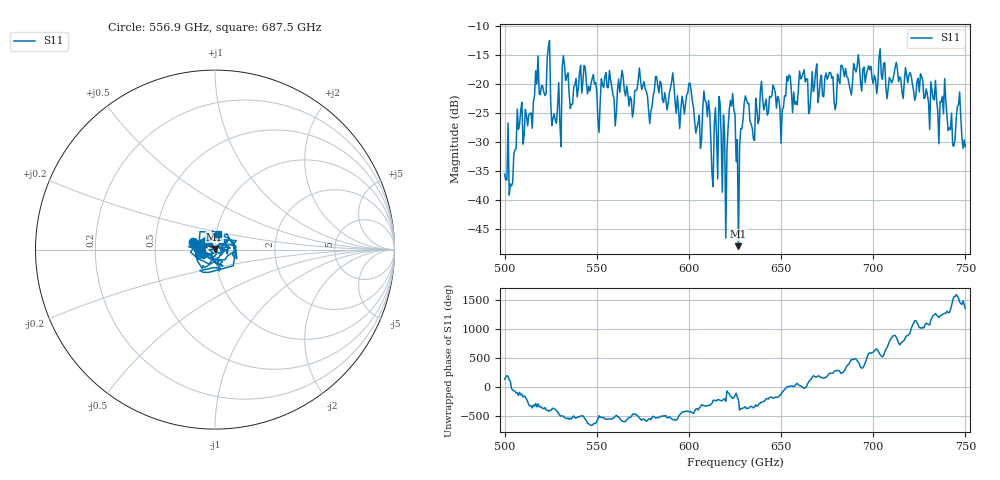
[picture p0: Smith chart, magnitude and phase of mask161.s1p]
!Created with skrf (http://scikit-rf.org).
# GHz S MA R 50.0
!freq magS11 angS11
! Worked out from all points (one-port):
!   401 points, 500 GHz to 750 GHz, reference 50 ohm
!   lowest |S11| = -48.0 dB at 626.9 GHz (marker M1), VSWR 1.01, Z = 49.7 + j0.292 ohm
!   |S11| at or under -10 dB: start of sweep to end of sweep
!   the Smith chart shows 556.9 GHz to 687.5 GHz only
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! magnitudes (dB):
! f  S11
! 500 GHz  -35.6
! 503.8 GHz  -37.6
! 508.1 GHz  -27.1
! 513.8 GHz  -25.2
! 516.9 GHz  -17.8
! 523.8 GHz  -13.7
! 526.9 GHz  -25.2
! 531.2 GHz  -17.1
! 562.5 GHz  -21.5
! 593.8 GHz  -22.1
! 600 GHz  -20.0
! 605.6 GHz  -25.4
! 609.4 GHz  -23.2
! 612.5 GHz  -35.5
! 617.5 GHz  -29.0
! 619.4 GHz  -28.7
! 622.5 GHz  -22.9
! 625 GHz  -25.3
! 626.9 GHz  -48.0
! 631.2 GHz  -22.8
! 634.4 GHz  -27.7
! 640 GHz  -22.7
! 656.2 GHz  -25.0
! 687.5 GHz  -21.0
! 718.8 GHz  -19.8
! 743.1 GHz  -30.7
! 746.2 GHz  -23.7
! 750 GHz  -30.9
